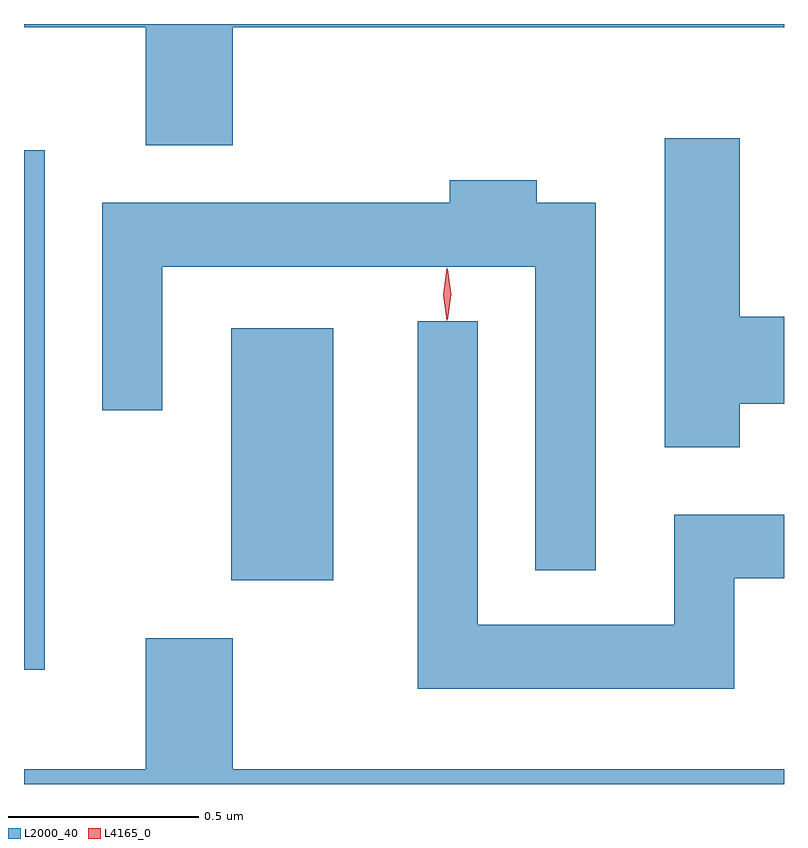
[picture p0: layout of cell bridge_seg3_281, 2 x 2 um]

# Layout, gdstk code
import gdstk
lib = gdstk.Library(unit=1e-6, precision=1e-09)
def R(c, l, rs):  # rectangles x0, y0, x1, y1
    for r in rs: c.add(gdstk.rectangle(r[:2], r[2:], *l))
def P(c, l, *ps):  # polygons
    for p in ps: c.add(gdstk.Polygon(p, *l))
L2000_40 = (2000, 40)
L4165_0 = (4165, 0)

bridge_seg3_281 = lib.new_cell('bridge_seg3_281')
R(bridge_seg3_281, L2000_40, [(1048.7,1137.646,1048.754,1139.013), (1049.246,1137.881,1049.514,1138.544)])
P(bridge_seg3_281, L2000_40, [(1049.249,1139.336),(1050.7,1139.336),(1050.7,1139.345),(1048.7,1139.345),(1048.7,1139.336),(1049.021,1139.336),(1049.021,1139.026),(1049.249,1139.026)],
  [(1050.584,1138.346),(1050.7,1138.346),(1050.7,1138.574),(1050.584,1138.574),(1050.584,1139.044),(1050.386,1139.044),(1050.386,1138.231),(1050.584,1138.231)],
  [(1050.204,1138.874),(1050.049,1138.874),(1050.049,1138.934),(1049.821,1138.934),(1049.821,1138.874),(1048.906,1138.874),(1048.906,1138.328),(1049.064,1138.328),(1049.064,1138.706),(1050.046,1138.706),(1050.046,1137.908),(1050.204,1137.908)],
  [(1050.569,1137.886),(1050.7,1137.886),(1050.7,1138.054),(1050.411,1138.054),(1050.411,1137.764),(1049.894,1137.764),(1049.894,1138.563),(1049.736,1138.563),(1049.736,1137.596),(1050.569,1137.596)],
  [(1050.7,1137.384),(1049.249,1137.384),(1049.249,1137.729),(1049.021,1137.729),(1049.021,1137.384),(1048.7,1137.384),(1048.7,1137.345),(1050.7,1137.345)])
P(bridge_seg3_281, L4165_0, [(1049.813,1138.563),(1049.812,1138.564),(1049.803,1138.633),(1049.812,1138.702),(1049.813,1138.703),(1049.813,1138.702),(1049.823,1138.633),(1049.813,1138.564)],
  [(1049.814,1138.567),(1049.814,1138.568),(1049.804,1138.634),(1049.814,1138.7),(1049.814,1138.701),(1049.815,1138.7),(1049.824,1138.634),(1049.815,1138.568)])

lib.write_gds('bridge_seg3_281.gds')
